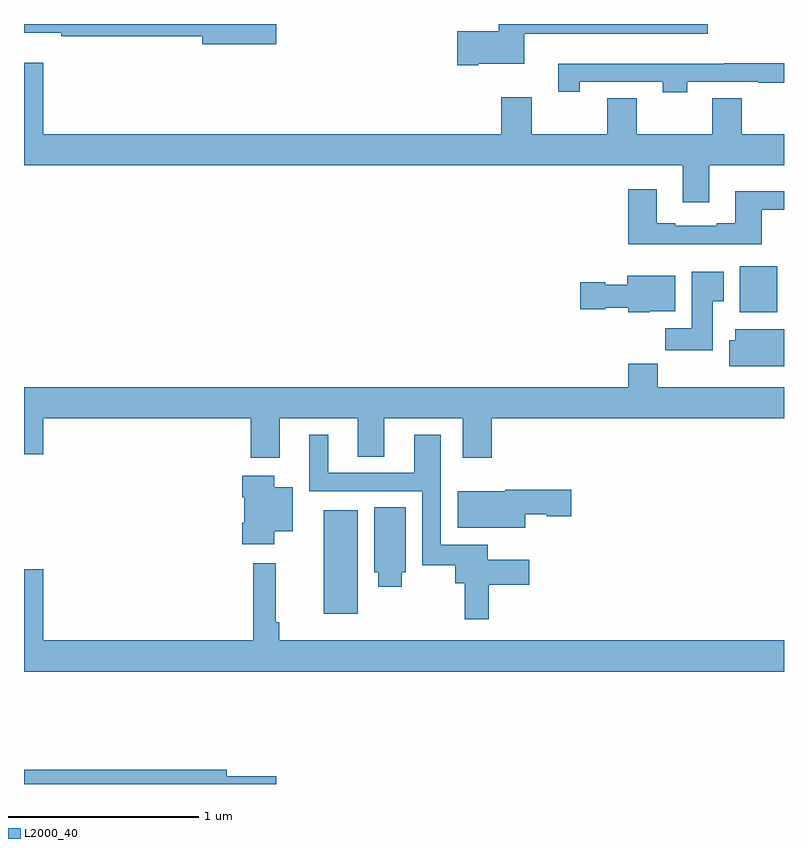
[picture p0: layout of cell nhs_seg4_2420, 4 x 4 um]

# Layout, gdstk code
import gdstk
lib = gdstk.Library(unit=1e-6, precision=1e-09)
def R(c, l, rs):  # rectangles x0, y0, x1, y1
    for r in rs: c.add(gdstk.rectangle(r[:2], r[2:], *l))
def P(c, l, *ps):  # polygons
    for p in ps: c.add(gdstk.Polygon(p, *l))
L2000_40 = (2000, 40)

nhs_seg4_2420 = lib.new_cell('nhs_seg4_2420')
R(nhs_seg4_2420, L2000_40, [(238.577,791.795,238.756,792.34), (240.767,793.382,240.964,793.624)])
P(nhs_seg4_2420, L2000_40, [(239.392,794.69),(239.632,794.69),(239.632,794.849),(240.598,794.849),(240.598,794.9),(239.498,794.9),(239.498,794.861),(239.28,794.861),(239.28,794.683),(239.392,794.683)],
  [(238.327,794.9),(237,794.9),(237,794.855),(237.196,794.855),(237.196,794.836),(237.938,794.836),(237.938,794.794),(238.327,794.794)],
  [(240.607,794.156),(241,794.156),(241,794.32),(240.777,794.32),(240.777,794.51),(240.622,794.51),(240.622,794.32),(240.225,794.32),(240.225,794.51),(240.07,794.51),(240.07,794.32),(239.673,794.32),(239.673,794.515),(239.513,794.515),(239.513,794.32),(237.1,794.32),(237.1,794.695),(237,794.695),(237,794.156),(240.467,794.156),(240.467,793.962),(240.607,793.962)],
  [(240.491,794.595),(240.865,794.595),(240.865,794.59),(241,794.59),(241,794.694),(240.685,794.694),(240.685,794.692),(239.811,794.692),(239.811,794.544),(239.924,794.544),(239.924,794.595),(240.363,794.595),(240.363,794.54),(240.491,794.54)],
  [(240.883,793.923),(241,793.923),(241,794.02),(240.743,794.02),(240.743,793.852),(240.647,793.852),(240.647,793.839),(240.427,793.839),(240.427,793.852),(240.331,793.852),(240.331,794.029),(240.179,794.029),(240.179,793.742),(240.883,793.742)],
  [(240.625,793.441),(240.682,793.441),(240.682,793.597),(240.515,793.597),(240.515,793.3),(240.376,793.3),(240.376,793.182),(240.625,793.182)],
  [(240.294,793.388),(240.427,793.388),(240.427,793.576),(240.176,793.576),(240.176,793.528),(240.06,793.528),(240.06,793.541),(239.928,793.541),(239.928,793.399),(240.06,793.399),(240.06,793.406),(240.18,793.406),(240.18,793.382),(240.294,793.382)],
  [(241,793.294),(240.743,793.294),(240.743,793.235),(240.713,793.235),(240.713,793.1),(241,793.1)],
  [(238.345,792.824),(238.757,792.824),(238.757,792.622),(238.897,792.622),(238.897,792.824),(239.309,792.824),(239.309,792.618),(239.462,792.618),(239.462,792.824),(241,792.824),(241,792.988),(240.335,792.988),(240.335,793.112),(240.179,793.112),(240.179,792.988),(237,792.988),(237,792.636),(237.1,792.636),(237.1,792.824),(238.193,792.824),(238.193,792.618),(238.345,792.618)],
  [(239.447,791.95),(239.659,791.95),(239.659,792.079),(239.441,792.079),(239.441,792.159),(239.193,792.159),(239.193,792.739),(239.054,792.739),(239.054,792.537),(238.6,792.537),(238.6,792.739),(238.502,792.739),(238.502,792.441),(239.097,792.441),(239.097,792.051),(239.27,792.051),(239.27,791.957),(239.319,791.957),(239.319,791.766),(239.447,791.766)],
  [(238.318,792.23),(238.414,792.23),(238.414,792.463),(238.318,792.463),(238.318,792.523),(238.148,792.523),(238.148,792.41),(238.16,792.41),(238.16,792.274),(238.148,792.274),(238.148,792.162),(238.318,792.162)],
  [(239.638,792.32),(239.751,792.32),(239.751,792.308),(239.881,792.308),(239.881,792.45),(239.534,792.45),(239.534,792.442),(239.282,792.442),(239.282,792.248),(239.638,792.248)],
  [(238.987,792.015),(239.008,792.015),(239.008,792.356),(238.844,792.356),(238.844,792.015),(238.865,792.015),(238.865,791.939),(238.987,791.939)],
  [(241,791.656),(238.343,791.656),(238.343,791.752),(238.326,791.752),(238.326,792.061),(238.207,792.061),(238.207,791.656),(237.1,791.656),(237.1,792.031),(237,792.031),(237,791.492),(241,791.492)],
  [(238.327,790.94),(238.066,790.94),(238.066,790.976),(237,790.976),(237,790.9),(238.327,790.9)])

lib.write_gds('nhs_seg4_2420.gds')
